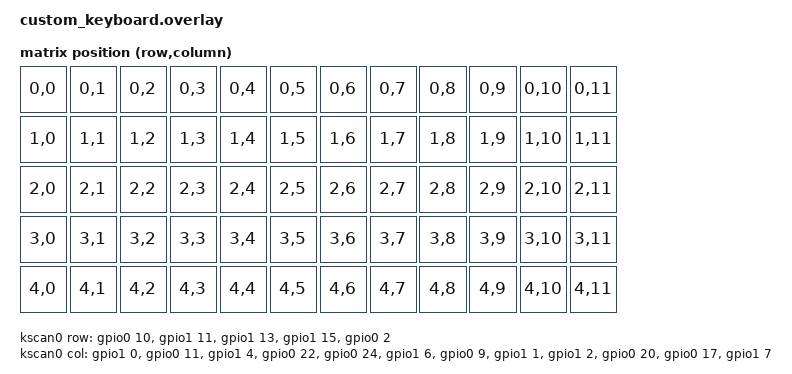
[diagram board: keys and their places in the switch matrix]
/*
 * Copyright (c) 2025
 * SPDX-License-Identifier: MIT
 */

#include <dt-bindings/zmk/matrix_transform.h>

/ {
    chosen {
        zmk,kscan = &kscan0;
        zmk,matrix-transform = &default_transform;
        zmk,physical-layout = &physical_layout;
    };

    default_transform: keymap_transform_0 {
        compatible = "zmk,matrix-transform";
        columns = <12>;
        rows = <5>;
        
        map = <
            // Row 1 (12 keys)
            RC(0,0) RC(0,1) RC(0,2) RC(0,3) RC(0,4) RC(0,5) RC(0,6) RC(0,7) RC(0,8) RC(0,9) RC(0,10) RC(0,11)
            // Row 2 (12 keys)
            RC(1,0) RC(1,1) RC(1,2) RC(1,3) RC(1,4) RC(1,5) RC(1,6) RC(1,7) RC(1,8) RC(1,9) RC(1,10) RC(1,11)
            // Row 3 (12 keys)
            RC(2,0) RC(2,1) RC(2,2) RC(2,3) RC(2,4) RC(2,5) RC(2,6) RC(2,7) RC(2,8) RC(2,9) RC(2,10) RC(2,11)
            // Row 4 (12 keys)
            RC(3,0) RC(3,1) RC(3,2) RC(3,3) RC(3,4) RC(3,5) RC(3,6) RC(3,7) RC(3,8) RC(3,9) RC(3,10) RC(3,11)
            // Row 5 (12 keys)
            RC(4,0) RC(4,1) RC(4,2) RC(4,3) RC(4,4) RC(4,5) RC(4,6) RC(4,7) RC(4,8) RC(4,9) RC(4,10) RC(4,11)
        >;
    };

    physical_layout: physical_layout {
        compatible = "zmk,physical-layout";
        display-name = "Default Layout";
        transform = <&default_transform>;
        kscan = <&kscan0>;
    };

    kscan0: kscan {
        compatible = "zmk,kscan-gpio-matrix";
        wakeup-source;
        
        diode-direction = "col2row";
        
        row-gpios
            = <&gpio0 10 (GPIO_ACTIVE_HIGH | GPIO_PULL_DOWN)>  // r1: P0.10
            , <&gpio1 11 (GPIO_ACTIVE_HIGH | GPIO_PULL_DOWN)>  // r2: P1.11
            , <&gpio1 13 (GPIO_ACTIVE_HIGH | GPIO_PULL_DOWN)>  // r3: P1.13
            , <&gpio1 15 (GPIO_ACTIVE_HIGH | GPIO_PULL_DOWN)>  // r4: P1.15
            , <&gpio0 2  (GPIO_ACTIVE_HIGH | GPIO_PULL_DOWN)>  // r5: P0.02
            ;
        
        col-gpios
            = <&gpio1 0  GPIO_ACTIVE_HIGH>  // c1: P1.00
            , <&gpio0 11 GPIO_ACTIVE_HIGH>  // c2: P0.11
            , <&gpio1 4  GPIO_ACTIVE_HIGH>  // c3: P1.04
            , <&gpio0 22 GPIO_ACTIVE_HIGH>  // c4: P0.22
            , <&gpio0 24 GPIO_ACTIVE_HIGH>  // c5: P0.24
            , <&gpio1 6  GPIO_ACTIVE_HIGH>  // c6: P1.06
            , <&gpio0 9  GPIO_ACTIVE_HIGH>  // c7: P0.09
            , <&gpio1 1  GPIO_ACTIVE_HIGH>  // c8: P1.01
            , <&gpio1 2  GPIO_ACTIVE_HIGH>  // c9: P1.02
            , <&gpio0 20 GPIO_ACTIVE_HIGH>  // c10: P0.20
            , <&gpio0 17 GPIO_ACTIVE_HIGH>  // c11: P0.17
            , <&gpio1 7  GPIO_ACTIVE_HIGH>  // c12: P1.07
            ;
    };
};
